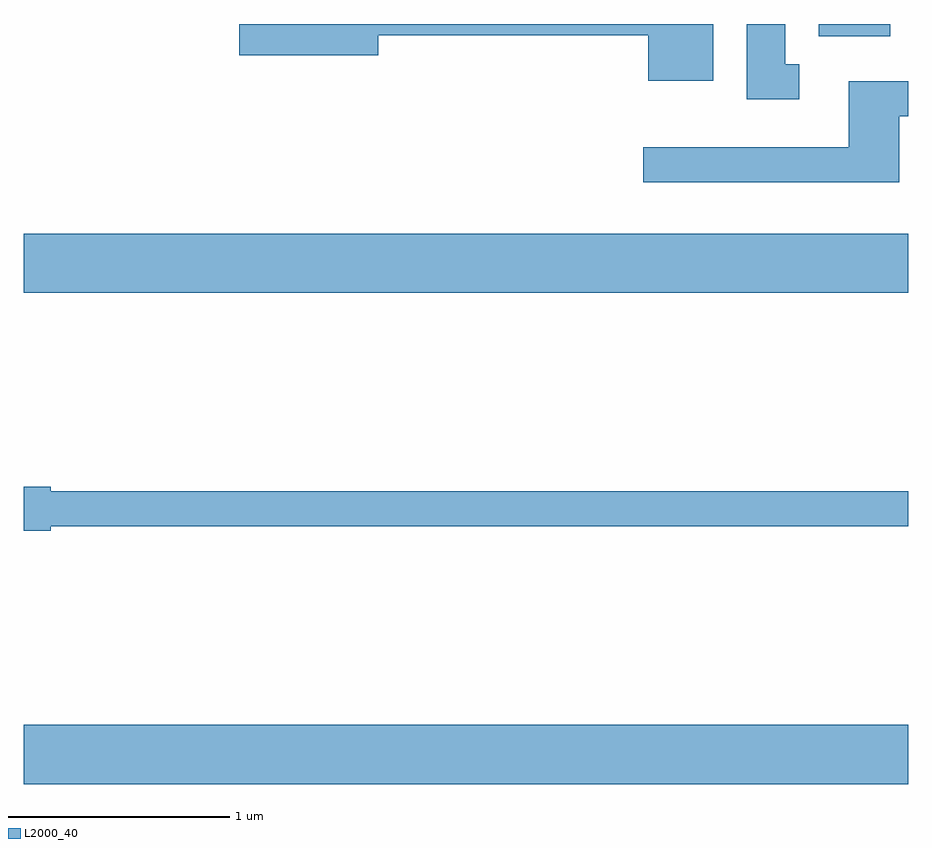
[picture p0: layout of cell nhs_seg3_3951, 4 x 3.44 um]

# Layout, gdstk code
import gdstk
lib = gdstk.Library(unit=1e-6, precision=1e-09)
def R(c, l, rs):  # rectangles x0, y0, x1, y1
    for r in rs: c.add(gdstk.rectangle(r[:2], r[2:], *l))
def P(c, l, *ps):  # polygons
    for p in ps: c.add(gdstk.Polygon(p, *l))
L2000_40 = (2000, 40)

nhs_seg3_3951 = lib.new_cell('nhs_seg3_3951')
R(nhs_seg3_3951, L2000_40, [(301.611,1130.456,305.611,1130.724), (301.611,1132.676,305.611,1132.944), (305.206,1133.836,305.529,1133.892)])
P(nhs_seg3_3951, L2000_40, [(305.118,1133.709),(305.054,1133.709),(305.054,1133.892),(304.881,1133.892),(304.881,1133.551),(305.118,1133.551)],
  [(304.729,1133.892),(302.586,1133.892),(302.586,1133.751),(303.214,1133.751),(303.214,1133.841),(304.436,1133.841),(304.436,1133.636),(304.729,1133.636)],
  [(305.569,1133.476),(305.611,1133.476),(305.611,1133.634),(305.341,1133.634),(305.341,1133.334),(304.413,1133.334),(304.413,1133.176),(305.569,1133.176)],
  [(301.734,1131.621),(305.611,1131.621),(305.611,1131.779),(301.734,1131.779),(301.734,1131.799),(301.611,1131.799),(301.611,1131.601),(301.734,1131.601)])

lib.write_gds('nhs_seg3_3951.gds')
